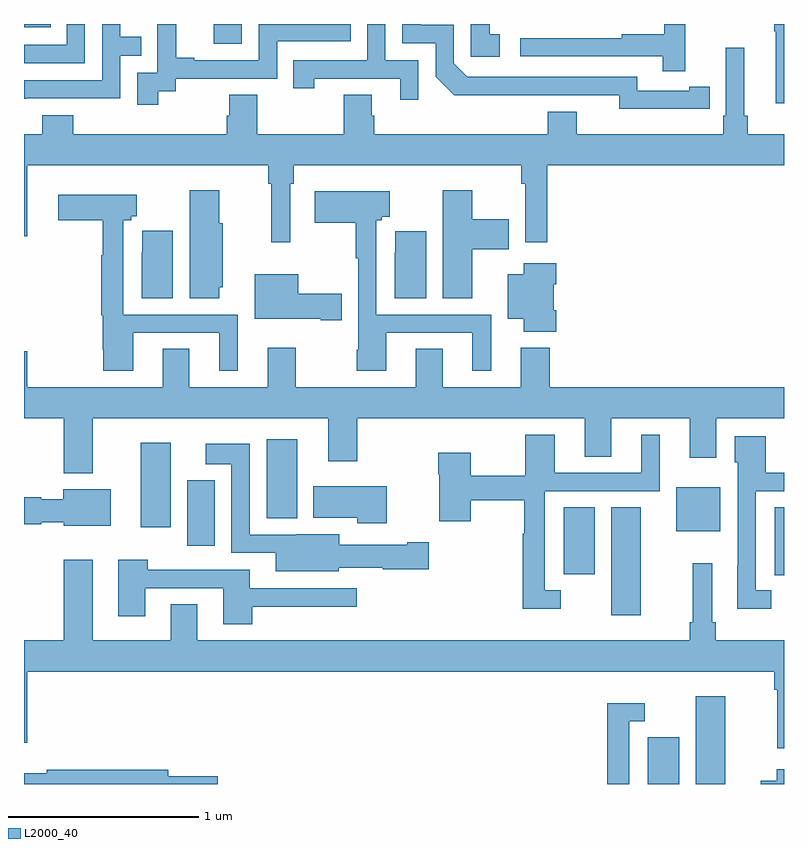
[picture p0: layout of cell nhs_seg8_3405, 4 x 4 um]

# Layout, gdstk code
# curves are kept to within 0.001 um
import gdstk
lib = gdstk.Library(unit=1e-6, precision=1e-09)
def R(c, l, rs):  # rectangles x0, y0, x1, y1
    for r in rs: c.add(gdstk.rectangle(r[:2], r[2:], *l))
def P(c, l, *ps):  # polygons
    for p in ps: c.add(gdstk.Polygon(p, *l))
L2000_40 = (2000, 40)

nhs_seg8_3405 = lib.new_cell('nhs_seg8_3405')
R(nhs_seg8_3405, L2000_40, [(324.284,1123.9,324.448,1124.146), (324.536,1123.9,324.691,1124.362), (324.092,1124.787,324.247,1125.356), (324.95,1125,325,1125.356), (323.84,1125.003,324.004,1125.356), (321.86,1125.153,322.003,1125.499), (324.434,1125.23,324.664,1125.463), (321.614,1125.252,321.772,1125.697), (322.277,1125.299,322.438,1125.715), (321.999,1127.796,322.146,1127.9), (321,1127.882,321.14,1127.9)])
P(nhs_seg8_3405, L2000_40, [(321.706,1127.545),(321.798,1127.545),(321.798,1127.613),(322.332,1127.613),(322.332,1127.808),(322.721,1127.808),(322.721,1127.9),(322.236,1127.9),(322.236,1127.709),(321.895,1127.709),(321.895,1127.722),(321.8,1127.722),(321.8,1127.9),(321.701,1127.9),(321.701,1127.873),(321.702,1127.873),(321.702,1127.643),(321.597,1127.643),(321.597,1127.475),(321.706,1127.475)],
  [(321.011,1127.508),(321.507,1127.508),(321.507,1127.733),(321.617,1127.733),(321.617,1127.834),(321.507,1127.834),(321.507,1127.9),(321.411,1127.9),(321.411,1127.604),(321,1127.604),(321,1127.507),(321.011,1127.507)],
  [(323.503,1127.847),(323.45,1127.847),(323.45,1127.9),(323.352,1127.9),(323.352,1127.727),(323.503,1127.727)],
  [(324.479,1127.9),(324.369,1127.9),(324.369,1127.846),(324.145,1127.846),(324.145,1127.826),(323.613,1127.826),(323.613,1127.73),(324.361,1127.73),(324.361,1127.652),(324.479,1127.652)],
  [(324.5,1127.454),(324.608,1127.454),(324.608,1127.57),(324.5,1127.57),(324.5,1127.55),(324.228,1127.55),(324.228,1127.622),(323.334,1127.622),(323.262,1127.694),(323.262,1127.895),(323.089,1127.895),(323.089,1127.9),(322.992,1127.9),(322.992,1127.799),(323.166,1127.799),(323.166,1127.622),(323.264,1127.525),(324.132,1127.526),(324.132,1127.453)],
  [(321.321,1127.9),(321.225,1127.9),(321.225,1127.79),(321,1127.79),(321,1127.694),(321.321,1127.694)],
  [(323.076,1127.709),(322.902,1127.709),(322.902,1127.9),(322.806,1127.9),(322.806,1127.709),(322.417,1127.709),(322.417,1127.562),(322.528,1127.562),(322.528,1127.613),(322.979,1127.613),(322.979,1127.502),(323.076,1127.502)],
  [(325,1127.9),(324.949,1127.9),(324.949,1127.863),(324.956,1127.863),(324.956,1127.484),(325,1127.484)],
  [(322.401,1127.06),(322.421,1127.06),(322.421,1127.156),(323.617,1127.156),(323.617,1127.06),(323.637,1127.06),(323.637,1126.752),(323.753,1126.752),(323.753,1127.156),(325,1127.156),(325,1127.32),(324.809,1127.32),(324.809,1127.416),(324.79,1127.416),(324.79,1127.776),(324.693,1127.776),(324.693,1127.416),(324.68,1127.416),(324.68,1127.32),(323.908,1127.32),(323.908,1127.437),(323.756,1127.437),(323.756,1127.32),(322.844,1127.32),(322.844,1127.418),(322.831,1127.418),(322.831,1127.528),(322.684,1127.528),(322.684,1127.32),(322.227,1127.32),(322.227,1127.528),(322.079,1127.528),(322.079,1127.418),(322.067,1127.418),(322.067,1127.32),(321.26,1127.32),(321.26,1127.419),(321.095,1127.419),(321.095,1127.32),(321,1127.32),(321,1126.782),(321.016,1126.782),(321.016,1127.156),(322.285,1127.156),(322.285,1127.06),(322.3,1127.06),(322.3,1126.752),(322.401,1126.752)],
  [(323.359,1126.715),(323.552,1126.715),(323.552,1126.873),(323.359,1126.873),(323.359,1127.026),(323.204,1127.026),(323.204,1126.456),(323.359,1126.456)],
  [(322.027,1126.515),(322.045,1126.515),(322.045,1126.851),(322.027,1126.851),(322.027,1127.026),(321.872,1127.026),(321.872,1126.456),(322.027,1126.456)],
  [(322.906,1126.275),(323.36,1126.275),(323.36,1126.074),(323.458,1126.074),(323.458,1126.371),(322.854,1126.371),(322.854,1126.866),(322.882,1126.866),(322.882,1126.885),(322.925,1126.885),(322.925,1127.02),(322.53,1127.02),(322.53,1126.855),(322.746,1126.855),(322.746,1126.666),(322.758,1126.666),(322.758,1126.186),(322.75,1126.186),(322.75,1126.074),(322.906,1126.074)],
  [(321.574,1126.275),(322.028,1126.275),(322.028,1126.074),(322.126,1126.074),(322.126,1126.371),(321.522,1126.371),(321.522,1126.868),(321.564,1126.868),(321.564,1126.888),(321.593,1126.888),(321.593,1127.002),(321.18,1127.002),(321.18,1126.868),(321.414,1126.868),(321.414,1126.684),(321.406,1126.684),(321.406,1126.368),(321.414,1126.368),(321.414,1126.186),(321.418,1126.186),(321.418,1126.074),(321.574,1126.074)],
  [(321.784,1126.813),(321.623,1126.813),(321.623,1126.7),(321.62,1126.7),(321.62,1126.456),(321.784,1126.456)],
  [(323.116,1126.81),(322.954,1126.81),(322.954,1126.697),(322.952,1126.697),(322.952,1126.456),(323.116,1126.456)],
  [(323.801,1126.393),(323.788,1126.393),(323.788,1126.529),(323.801,1126.529),(323.801,1126.642),(323.63,1126.642),(323.63,1126.582),(323.546,1126.582),(323.546,1126.349),(323.63,1126.349),(323.63,1126.281),(323.801,1126.281)],
  [(322.673,1126.479),(322.444,1126.479),(322.444,1126.582),(322.214,1126.582),(322.214,1126.349),(322.562,1126.349),(322.562,1126.342),(322.673,1126.342)],
  [(321.361,1125.824),(322.601,1125.824),(322.601,1125.6),(322.754,1125.6),(322.754,1125.824),(323.951,1125.824),(323.951,1125.622),(324.091,1125.622),(324.091,1125.824),(324.503,1125.824),(324.503,1125.618),(324.643,1125.618),(324.643,1125.824),(325,1125.824),(325,1125.988),(323.768,1125.988),(323.768,1126.195),(323.615,1126.195),(323.615,1125.988),(323.203,1125.988),(323.203,1126.19),(323.063,1126.19),(323.063,1125.988),(322.431,1125.988),(322.431,1126.195),(322.283,1126.195),(322.283,1125.988),(321.871,1125.988),(321.871,1126.19),(321.731,1126.19),(321.731,1125.988),(321.016,1125.988),(321.016,1126.177),(321,1126.177),(321,1125.824),(321.209,1125.824),(321.209,1125.536),(321.361,1125.536)],
  [(323.824,1124.919),(323.742,1124.919),(323.742,1125.441),(324.346,1125.441),(324.346,1125.739),(324.248,1125.739),(324.248,1125.537),(323.794,1125.537),(323.794,1125.739),(323.638,1125.739),(323.638,1125.523),(323.352,1125.523),(323.352,1125.643),(323.179,1125.643),(323.179,1125.53),(323.186,1125.53),(323.186,1125.282),(323.352,1125.282),(323.352,1125.394),(323.634,1125.394),(323.634,1125.217),(323.626,1125.217),(323.626,1124.822),(323.824,1124.822)],
  [(324.934,1124.919),(324.852,1124.919),(324.852,1125.441),(325,1125.441),(325,1125.537),(324.904,1125.537),(324.904,1125.73),(324.74,1125.73),(324.74,1125.594),(324.756,1125.594),(324.756,1125.048),(324.755,1125.048),(324.755,1124.822),(324.934,1124.822)],
  [(322.656,1125.038),(322.887,1125.038),(322.887,1125.031),(323.131,1125.031),(323.131,1125.173),(323.018,1125.173),(323.018,1125.16),(322.66,1125.16),(322.66,1125.214),(322.434,1125.214),(322.434,1125.213),(322.188,1125.213),(322.188,1125.691),(321.957,1125.691),(321.957,1125.584),(322.092,1125.584),(322.092,1125.117),(322.325,1125.117),(322.325,1125.02),(322.656,1125.02)],
  [(322.909,1125.466),(322.523,1125.466),(322.523,1125.302),(322.753,1125.302),(322.753,1125.272),(322.909,1125.272)],
  [(321.457,1125.451),(321.206,1125.451),(321.206,1125.4),(321.09,1125.4),(321.09,1125.408),(321,1125.408),(321,1125.266),(321.09,1125.266),(321.09,1125.278),(321.21,1125.278),(321.21,1125.26),(321.457,1125.26)],
  [(322.202,1124.834),(322.75,1124.834),(322.75,1124.931),(322.189,1124.931),(322.189,1125.027),(321.65,1125.027),(321.65,1125.079),(321.497,1125.079),(321.497,1124.784),(321.637,1124.784),(321.637,1124.931),(322.049,1124.931),(322.049,1124.742),(322.202,1124.742)],
  [(325,1124.656),(324.641,1124.656),(324.641,1124.752),(324.622,1124.752),(324.622,1125.061),(324.52,1125.061),(324.52,1124.752),(324.505,1124.752),(324.505,1124.656),(321.913,1124.656),(321.913,1124.846),(321.773,1124.846),(321.773,1124.656),(321.361,1124.656),(321.361,1125.079),(321.209,1125.079),(321.209,1124.656),(321,1124.656),(321,1124.118),(321.016,1124.118),(321.016,1124.492),(324.949,1124.492),(324.949,1124.396),(324.964,1124.396),(324.964,1124.088),(325,1124.088)],
  [(324.186,1124.229),(324.268,1124.229),(324.268,1124.326),(324.07,1124.326),(324.07,1123.9),(324.186,1123.9)],
  [(325,1123.978),(324.962,1123.978),(324.962,1123.918),(324.878,1123.918),(324.878,1123.9),(325,1123.9)],
  [(322.021,1123.94),(321.76,1123.94),(321.76,1123.976),(321.12,1123.976),(321.12,1123.957),(321,1123.957),(321,1123.9),(322.021,1123.9)])

lib.write_gds('nhs_seg8_3405.gds')
